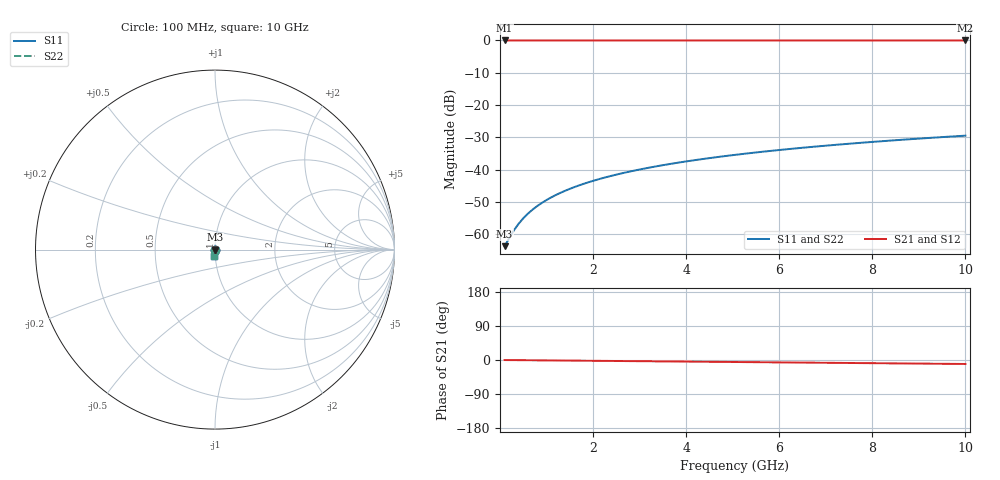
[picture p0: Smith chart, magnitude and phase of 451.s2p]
# Hz S RI R 50.00
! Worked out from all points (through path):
!   100 points, 100 MHz to 10 GHz, reference 50 ohm
!   highest |S21| = 0.00 dB at 100 MHz (marker M1); lowest = 0.0 dB at 10 GHz (marker M2)
!   group delay of S21, straight-line fit = 2.92 ps
!   lowest |S11| = -63.7 dB at 100 MHz (marker M3), VSWR 1.00, Z = 50.1 - j0.0336 ohm
!   |S11| at or under -10 dB: start of sweep to end of sweep
!   |S22| runs from -63.7 to -29.5 dB; largest |S21 - S12| = 0
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1e8  0.000564 -0.000335  0.9994 -0.00182  0.9994 -0.00182  0.000564 -0.000335
2e8  0.000565 -0.000671  0.9994 -0.00365  0.9994 -0.00365  0.000565 -0.000671
3e8  0.000563 -0.00101  0.9994 -0.00547  0.9994 -0.00547  0.000563 -0.00101
4e8  0.00056 -0.00134  0.9994 -0.00729  0.9994 -0.00729  0.00056 -0.00134
5e8  0.000556 -0.00168  0.9994 -0.00912  0.9994 -0.00912  0.000556 -0.00168
6e8  0.00055 -0.00201  0.9994 -0.0109  0.9994 -0.0109  0.00055 -0.00201
7e8  0.000542 -0.00235  0.9993 -0.0128  0.9993 -0.0128  0.000542 -0.00235
9e8  0.000524 -0.00302  0.9993 -0.0164  0.9993 -0.0164  0.000524 -0.00302
1e9  0.000512 -0.00336  0.9992 -0.0182  0.9992 -0.0182  0.000512 -0.00336
1.2e9  0.000486 -0.00403  0.9992 -0.0219  0.9992 -0.0219  0.000486 -0.00403
1.5e9  0.000436 -0.00503  0.999 -0.0274  0.999 -0.0274  0.000436 -0.00503
1.8e9  0.000375 -0.00604  0.9988 -0.0328  0.9988 -0.0328  0.000375 -0.00604
2.1e9  0.000303 -0.00705  0.9986 -0.0383  0.9986 -0.0383  0.000303 -0.00705
2.5e9  0.00019 -0.00839  0.9983 -0.0456  0.9983 -0.0456  0.00019 -0.00839
2.9e9  5.63e-05 -0.00974  0.9979 -0.0529  0.9979 -0.0529  5.63e-05 -0.00974
3.4e9  -0.000138 -0.0114  0.9974 -0.062  0.9974 -0.062  -0.000138 -0.0114
4.2e9  -0.000514 -0.0141  0.9963 -0.0766  0.9963 -0.0766  -0.000514 -0.0141
5.1e9  -0.00103 -0.0171  0.9948 -0.093  0.9948 -0.093  -0.00103 -0.0171
5.9e9  -0.00158 -0.0198  0.9933 -0.1076  0.9933 -0.1076  -0.00158 -0.0198
6.7e9  -0.0022 -0.0224  0.9915 -0.1222  0.9915 -0.1222  -0.0022 -0.0224
8.4e9  -0.00379 -0.028  0.9871 -0.1532  0.9871 -0.1532  -0.00379 -0.028
1e10  -0.0056 -0.0332  0.9819 -0.1823  0.9819 -0.1823  -0.0056 -0.0332
